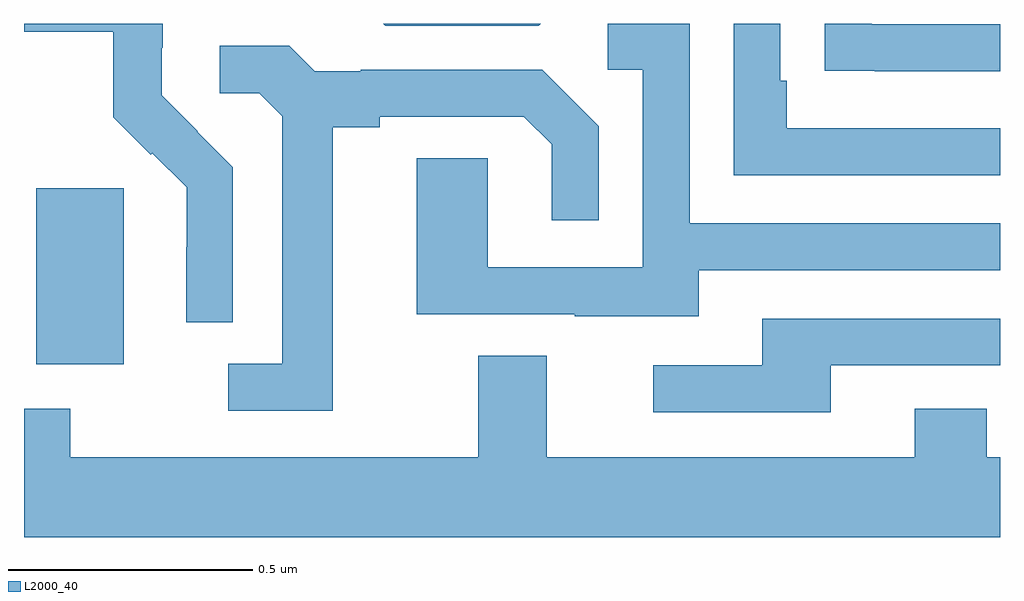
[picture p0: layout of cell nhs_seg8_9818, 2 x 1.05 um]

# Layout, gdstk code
import gdstk
lib = gdstk.Library(unit=1e-6, precision=1e-09)
def R(c, l, rs):  # rectangles x0, y0, x1, y1
    for r in rs: c.add(gdstk.rectangle(r[:2], r[2:], *l))
def P(c, l, *ps):  # polygons
    for p in ps: c.add(gdstk.Polygon(p, *l))
L2000_40 = (2000, 40)

nhs_seg8_9818 = lib.new_cell('nhs_seg8_9818')
R(nhs_seg8_9818, L2000_40, [(241.025,1102.202,241.204,1102.563)])
P(nhs_seg8_9818, L2000_40, [(241.428,1102.606),(241.355,1102.679),(241.356,1102.68),(241.282,1102.754),(241.282,1102.851),(241.284,1102.851),(241.284,1102.9),(241,1102.9),(241,1102.884),(241.183,1102.884),(241.183,1102.709),(241.26,1102.632),(241.263,1102.635),(241.334,1102.565),(241.334,1102.442),(241.332,1102.442),(241.332,1102.288),(241.428,1102.288)],
  [(242.059,1102.9),(241.736,1102.9),(241.74,1102.896),(242.055,1102.896)],
  [(243,1102.686),(242.563,1102.686),(242.563,1102.783),(242.55,1102.783),(242.55,1102.9),(242.454,1102.9),(242.454,1102.59),(243,1102.59)],
  [(243,1102.899),(242.737,1102.899),(242.737,1102.9),(242.641,1102.9),(242.641,1102.804),(242.743,1102.804),(242.743,1102.803),(243,1102.803)],
  [(242.383,1102.395),(243,1102.395),(243,1102.491),(242.364,1102.491),(242.364,1102.9),(242.196,1102.9),(242.196,1102.806),(242.268,1102.806),(242.268,1102.401),(241.95,1102.401),(241.95,1102.625),(241.805,1102.625),(241.805,1102.305),(242.129,1102.305),(242.129,1102.301),(242.383,1102.301)],
  [(241.633,1102.688),(241.729,1102.688),(241.729,1102.71),(242.024,1102.71),(242.081,1102.653),(242.081,1102.497),(242.178,1102.497),(242.178,1102.69),(242.062,1102.806),(241.69,1102.806),(241.69,1102.803),(241.596,1102.803),(241.544,1102.855),(241.401,1102.855),(241.401,1102.758),(241.482,1102.758),(241.529,1102.711),(241.529,1102.203),(241.419,1102.203),(241.419,1102.107),(241.633,1102.107)],
  [(242.653,1102.2),(243,1102.2),(243,1102.296),(242.513,1102.296),(242.513,1102.2),(242.289,1102.2),(242.289,1102.104),(242.653,1102.104)],
  [(243,1102.012),(242.973,1102.012),(242.973,1102.111),(242.825,1102.111),(242.825,1102.012),(242.071,1102.012),(242.071,1102.22),(241.931,1102.22),(241.931,1102.012),(241.095,1102.012),(241.095,1102.111),(241,1102.111),(241,1101.848),(243,1101.848)])

lib.write_gds('nhs_seg8_9818.gds')
